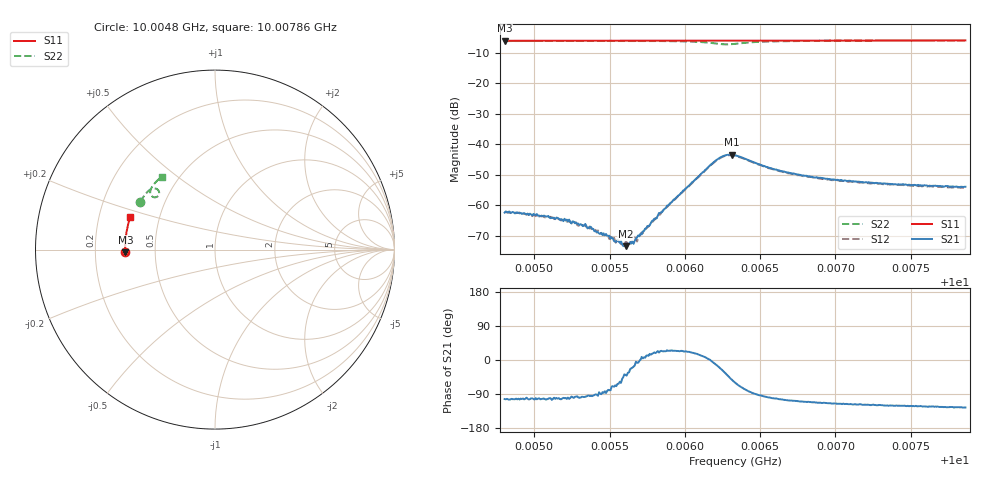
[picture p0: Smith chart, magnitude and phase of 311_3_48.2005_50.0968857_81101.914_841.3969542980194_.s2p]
#  HZ  S  RI  R  50.00
! Rohde & Schwarz Vector Network Analyzer
! Rohde-Schwarz,ZNB20-2Port,1311601062101988,3.16
! Created: UTC 3/20/2024, 11:50:00 AM
! freq[Hz]  re:S11  im:S11  re:S21  im:S21  re:S12  im:S12  re:S22  im:S22
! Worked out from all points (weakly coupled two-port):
!   401 points, 10.0048 GHz to 10.00786 GHz, reference 50 ohm
!   highest |S21| = -43.45 dB at 10.00631 GHz (marker M1); lowest = -73.5 dB at 10.00561 GHz (marker M2)
!   lowest |S11| = -6.0 dB at 10.0048 GHz (marker M3), VSWR 2.99, Z = 16.7 - j0.663 ohm
!   |S11| at or under -10 dB: nowhere
!   |S22| runs from -7.2 to -6.0 dB; largest |S21 - S12| = 0.00037
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1.0004803e10  -0.4989 -0.0149  -0.00017 -0.000731  -0.000144 -0.000744  -0.416 0.2662
1.0005078e10  -0.4999 0.00315  -0.000162 -0.000628  -0.000108 -0.00062  -0.4062 0.2826
1.0005216e10  -0.5 0.0119  -0.000128 -0.000562  -6.01e-05 -0.000533  -0.4007 0.2908
1.0005316e10  -0.5 0.0185  -5.66e-05 -0.000466  -3.15e-05 -0.000473  -0.3967 0.2969
1.0005346e10  -0.4999 0.0205  -4.75e-05 -0.000448  -4.01e-05 -0.000434  -0.3952 0.2985
1.0005537e10  -0.4995 0.0329  9.79e-05 -0.000229  0.000113 -0.000231  -0.3865 0.3102
1.000556e10  -0.4996 0.0343  0.000119 -0.000228  0.00013 -0.000216  -0.3853 0.3116
1.0005606e10  -0.4994 0.0373  0.000163 -0.000135  0.000205 -0.000139  -0.383 0.3144
1.0005637e10  -0.4993 0.0392  0.000224 -0.000101  0.000201 -0.000113  -0.3813 0.3164
1.000566e10  -0.4993 0.0408  0.00022 -6.99e-05  0.000242 -6.06e-05  -0.3798 0.3179
1.0005691e10  -0.4992 0.0428  0.000316 -3.97e-05  0.000296 -3.89e-06  -0.3783 0.3199
1.0005828e10  -0.4987 0.0516  0.000695 0.000248  0.00062 0.000291  -0.3687 0.3287
1.0005913e10  -0.4982 0.0571  0.00101 0.00048  0.000977 0.000517  -0.3615 0.3341
1.0006203e10  -0.4957 0.0758  0.00525 -0.000969  0.00519 -0.000676  -0.3128 0.3251
1.0006257e10  -0.495 0.079  0.00557 -0.0032  0.00561 -0.00291  -0.3127 0.3057
1.0006311e10  -0.4949 0.0821  0.0042 -0.00525  0.00436 -0.00491  -0.3279 0.292
1.0006333e10  -0.4948 0.0835  0.00331 -0.00565  0.00355 -0.00539  -0.3361 0.2911
1.0006601e10  -0.4925 0.1005  -0.000777 -0.00374  -0.000563 -0.00374  -0.3594 0.3312
1.0006846e10  -0.4898 0.1163  -0.00108 -0.0027  -0.000923 -0.00271  -0.3487 0.3533
1.0007076e10  -0.4866 0.1308  -0.00108 -0.00223  -0.000998 -0.00226  -0.3373 0.3677
1.0007359e10  -0.4822 0.1485  -0.00113 -0.00192  -0.000988 -0.00193  -0.3232 0.3827
1.0007864e10  -0.4724 0.1795  -0.00116 -0.00163  -0.00103 -0.00162  -0.2977 0.406
